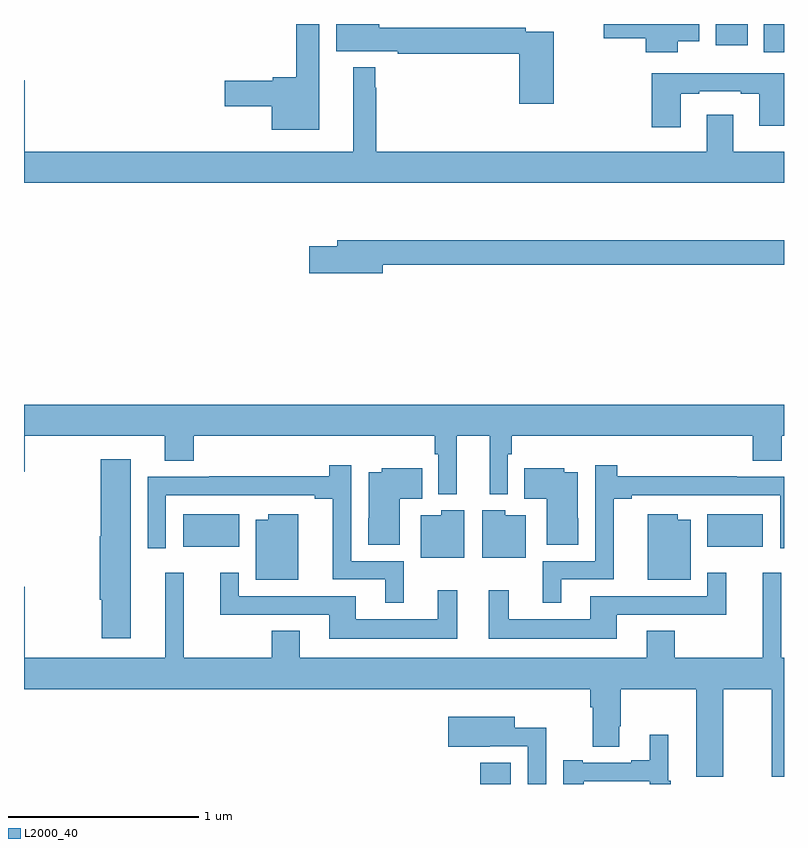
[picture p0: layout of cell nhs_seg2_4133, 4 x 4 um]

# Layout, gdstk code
import gdstk
lib = gdstk.Library(unit=1e-6, precision=1e-09)
def R(c, l, rs):  # rectangles x0, y0, x1, y1
    for r in rs: c.add(gdstk.rectangle(r[:2], r[2:], *l))
def P(c, l, *ps):  # polygons
    for p in ps: c.add(gdstk.Polygon(p, *l))
L2000_40 = (2000, 40)

nhs_seg2_4133 = lib.new_cell('nhs_seg2_4133')
R(nhs_seg2_4133, L2000_40, [(335.402,649.8,335.563,649.912), (333.839,651.05,334.132,651.22), (336.596,651.05,336.889,651.22), (336.893,653.652,337,653.8), (336.641,653.688,336.808,653.8)])
P(nhs_seg2_4133, L2000_40, [(336.442,653.708),(336.553,653.708),(336.553,653.8),(336.05,653.8),(336.05,653.726),(336.272,653.726),(336.272,653.651),(336.442,653.651)],
  [(335.789,653.76),(335.642,653.76),(335.642,653.78),(334.87,653.78),(334.87,653.8),(334.643,653.8),(334.643,653.657),(334.966,653.657),(334.966,653.644),(335.606,653.644),(335.606,653.379),(335.789,653.379)],
  [(334.555,653.8),(334.434,653.8),(334.434,653.519),(334.308,653.519),(334.308,653.501),(334.056,653.501),(334.056,653.366),(334.304,653.366),(334.304,653.243),(334.555,653.243)],
  [(337,653.128),(336.733,653.128),(336.733,653.323),(336.593,653.323),(336.593,653.128),(334.855,653.128),(334.855,653.465),(334.848,653.465),(334.848,653.572),(334.733,653.572),(334.733,653.128),(333.004,653.128),(333.004,653.503),(333,653.503),(333,652.964),(337,652.964)],
  [(336.457,653.433),(336.553,653.433),(336.553,653.445),(336.773,653.445),(336.773,653.433),(336.869,653.433),(336.869,653.264),(337,653.264),(337,653.542),(336.305,653.542),(336.305,653.256),(336.457,653.256)],
  [(334.888,652.534),(337,652.534),(337,652.663),(334.649,652.663),(334.649,652.629),(334.5,652.629),(334.5,652.487),(334.888,652.487)],
  [(335.278,651.632),(335.45,651.632),(335.45,651.326),(335.547,651.326),(335.547,651.536),(335.567,651.536),(335.567,651.632),(336.836,651.632),(336.836,651.502),(336.988,651.502),(336.988,651.632),(337,651.632),(337,651.796),(333,651.796),(333,651.444),(333.004,651.444),(333.004,651.632),(333.74,651.632),(333.74,651.502),(333.893,651.502),(333.893,651.632),(335.161,651.632),(335.161,651.536),(335.181,651.536),(335.181,651.326),(335.278,651.326)],
  [(333.562,651.508),(333.404,651.508),(333.404,651.105),(333.398,651.105),(333.398,650.769),(333.409,650.769),(333.409,650.568),(333.562,650.568)],
  [(335.827,650.877),(336.104,650.877),(336.104,651.301),(336.199,651.301),(336.199,651.321),(336.981,651.321),(336.981,651.042),(337,651.042),(337,651.417),(336.752,651.417),(336.752,651.419),(336.122,651.419),(336.122,651.478),(336.006,651.478),(336.006,650.973),(335.729,650.973),(335.729,650.753),(335.827,650.753)],
  [(334.999,650.973),(334.722,650.973),(334.722,651.478),(334.606,651.478),(334.606,651.419),(333.976,651.419),(333.976,651.417),(333.651,651.417),(333.651,651.042),(333.747,651.042),(333.747,651.321),(334.529,651.321),(334.529,651.301),(334.625,651.301),(334.625,650.877),(334.901,650.877),(334.901,650.753),(334.999,650.753)],
  [(334.978,651.302),(335.096,651.302),(335.096,651.463),(334.884,651.463),(334.884,651.442),(334.814,651.442),(334.814,651.198),(334.811,651.198),(334.811,651.058),(334.978,651.058)],
  [(335.917,651.198),(335.914,651.198),(335.914,651.442),(335.844,651.442),(335.844,651.463),(335.632,651.463),(335.632,651.302),(335.75,651.302),(335.75,651.058),(335.917,651.058)],
  [(335.641,651.214),(335.532,651.214),(335.532,651.241),(335.411,651.241),(335.411,650.99),(335.641,650.99)],
  [(335.317,651.241),(335.196,651.241),(335.196,651.214),(335.087,651.214),(335.087,650.99),(335.317,650.99)],
  [(336.508,651.19),(336.442,651.19),(336.442,651.22),(336.284,651.22),(336.284,650.876),(336.508,650.876)],
  [(334.444,651.22),(334.286,651.22),(334.286,651.19),(334.22,651.19),(334.22,650.876),(334.444,650.876)],
  [(335.281,650.821),(335.177,650.821),(335.177,650.668),(334.747,650.668),(334.747,650.787),(334.131,650.787),(334.131,650.911),(334.034,650.911),(334.034,650.691),(334.607,650.691),(334.607,650.564),(335.281,650.564)],
  [(336.121,650.691),(336.695,650.691),(336.695,650.911),(336.597,650.911),(336.597,650.787),(335.981,650.787),(335.981,650.668),(335.551,650.668),(335.551,650.821),(335.447,650.821),(335.447,650.564),(336.121,650.564)],
  [(336.679,650.3),(336.935,650.3),(336.935,649.839),(337,649.839),(337,650.464),(336.986,650.464),(336.986,650.911),(336.887,650.911),(336.887,650.464),(336.426,650.464),(336.426,650.606),(336.278,650.606),(336.278,650.464),(334.45,650.464),(334.45,650.606),(334.303,650.606),(334.303,650.464),(333.842,650.464),(333.842,650.911),(333.743,650.911),(333.743,650.464),(333.004,650.464),(333.004,650.839),(333,650.839),(333,650.3),(335.981,650.3),(335.981,650.204),(335.993,650.204),(335.993,649.996),(336.133,649.996),(336.133,650.104),(336.141,650.104),(336.141,650.3),(336.539,650.3),(336.539,649.839),(336.679,649.839)],
  [(335.748,650.096),(335.584,650.096),(335.584,650.155),(335.232,650.155),(335.232,649.997),(335.45,649.997),(335.45,649.998),(335.652,649.998),(335.652,649.8),(335.748,649.8)],
  [(335.947,649.815),(336.294,649.815),(336.294,649.8),(336.403,649.8),(336.403,649.818),(336.391,649.818),(336.391,650.059),(336.293,650.059),(336.293,649.924),(336.197,649.924),(336.197,649.911),(335.941,649.911),(335.941,649.924),(335.837,649.924),(335.837,649.8),(335.947,649.8)])

lib.write_gds('nhs_seg2_4133.gds')
